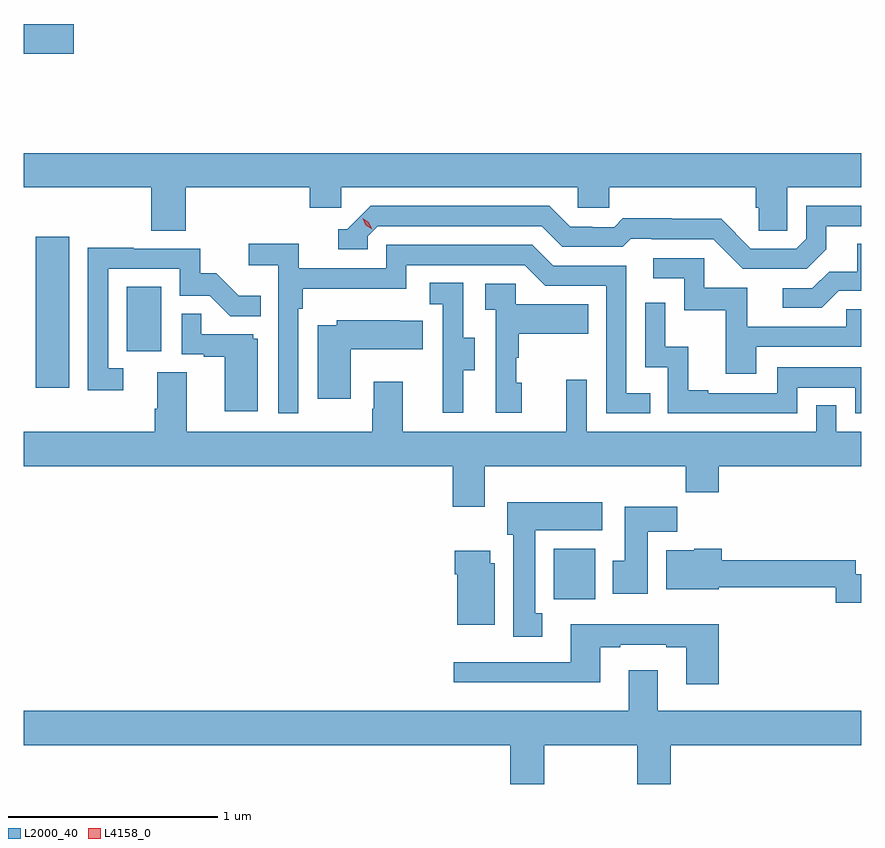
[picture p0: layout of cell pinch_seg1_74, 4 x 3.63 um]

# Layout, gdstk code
import gdstk
lib = gdstk.Library(unit=1e-6, precision=1e-09)
def R(c, l, rs):  # rectangles x0, y0, x1, y1
    for r in rs: c.add(gdstk.rectangle(r[:2], r[2:], *l))
def P(c, l, *ps):  # polygons
    for p in ps: c.add(gdstk.Polygon(p, *l))
L2000_40 = (2000, 40)
L4158_0 = (4158, 0)

pinch_seg1_74 = lib.new_cell('pinch_seg1_74')
R(pinch_seg1_74, L2000_40, [(1034.936,579.068,1035.133,579.31), (1032.461,580.08,1032.622,580.801), (1032.896,580.254,1033.06,580.561), (1032.404,581.674,1032.643,581.816)])
P(pinch_seg1_74, L2000_40, [(1033.178,581.036),(1033.769,581.036),(1033.769,580.938),(1033.92,580.938),(1033.92,581.036),(1035.051,581.036),(1035.051,580.938),(1035.201,580.938),(1035.201,581.036),(1035.899,581.036),(1035.899,580.938),(1035.913,580.938),(1035.913,580.828),(1036.05,580.828),(1036.05,581.036),(1036.404,581.036),(1036.404,581.2),(1032.404,581.2),(1032.404,581.036),(1033.013,581.036),(1033.013,580.828),(1033.178,580.828)],
  [(1036.237,580.741),(1036.237,580.851),(1036.404,580.851),(1036.404,580.947),(1036.14,580.947),(1036.14,580.791),(1036.092,580.743),(1035.876,580.743),(1035.734,580.885),(1035.498,580.885),(1035.498,580.888),(1035.265,580.888),(1035.223,580.845),(1035.12,580.845),(1035.12,580.848),(1035.013,580.848),(1034.914,580.947),(1034.061,580.947),(1033.95,580.836),(1033.907,580.836),(1033.907,580.74),(1034.046,580.74),(1034.046,580.803),(1034.094,580.851),(1034.877,580.851),(1034.976,580.752),(1035.265,580.752),(1035.304,580.791),(1035.403,580.791),(1035.403,580.788),(1035.696,580.788),(1035.837,580.647),(1036.143,580.647)],
  [(1033.716,580.457),(1033.736,580.457),(1033.736,580.553),(1034.232,580.553),(1034.232,580.665),(1034.796,580.665),(1034.895,580.566),(1035.186,580.566),(1035.186,579.957),(1035.395,579.957),(1035.395,580.053),(1035.282,580.053),(1035.282,580.662),(1034.932,580.662),(1034.833,580.761),(1034.136,580.761),(1034.136,580.65),(1033.718,580.65),(1033.718,580.766),(1033.478,580.766),(1033.478,580.664),(1033.62,580.664),(1033.62,579.957),(1033.716,579.957)],
  [(1036.297,580.542),(1036.404,580.542),(1036.404,580.766),(1036.385,580.766),(1036.385,580.634),(1036.25,580.634),(1036.17,580.554),(1036.029,580.554),(1036.029,580.461),(1036.216,580.461)],
  [(1032.88,580.173),(1032.807,580.173),(1032.807,580.647),(1033.149,580.647),(1033.149,580.518),(1033.293,580.518),(1033.391,580.42),(1033.535,580.42),(1033.535,580.519),(1033.431,580.519),(1033.324,580.626),(1033.248,580.626),(1033.248,580.743),(1032.929,580.743),(1032.929,580.748),(1032.711,580.748),(1032.711,580.068),(1032.88,580.068)],
  [(1035.901,580.275),(1036.404,580.275),(1036.404,580.455),(1036.333,580.455),(1036.333,580.371),(1035.859,580.371),(1035.859,580.557),(1035.654,580.557),(1035.654,580.698),(1035.411,580.698),(1035.411,580.602),(1035.558,580.602),(1035.558,580.449),(1035.757,580.449),(1035.757,580.146),(1035.901,580.146)],
  [(1034.503,580.162),(1034.557,580.162),(1034.557,580.317),(1034.502,580.317),(1034.502,580.58),(1034.343,580.58),(1034.343,580.477),(1034.406,580.477),(1034.406,580.173),(1034.405,580.173),(1034.405,579.96),(1034.503,579.96)],
  [(1034.782,580.104),(1034.757,580.104),(1034.757,580.223),(1034.767,580.223),(1034.767,580.337),(1035.101,580.337),(1035.101,580.477),(1034.754,580.477),(1034.754,580.575),(1034.607,580.575),(1034.607,580.451),(1034.658,580.451),(1034.658,579.96),(1034.782,579.96)],
  [(1036.098,580.08),(1036.374,580.08),(1036.374,579.957),(1036.404,579.957),(1036.404,580.176),(1036.002,580.176),(1036.002,580.053),(1035.673,580.053),(1035.673,580.066),(1035.578,580.066),(1035.578,580.274),(1035.468,580.274),(1035.468,580.486),(1035.372,580.486),(1035.372,580.176),(1035.48,580.176),(1035.48,579.957),(1036.098,579.957)],
  [(1033.522,580.314),(1033.5,580.314),(1033.5,580.335),(1033.253,580.335),(1033.253,580.433),(1033.158,580.433),(1033.158,580.239),(1033.265,580.239),(1033.265,580.227),(1033.364,580.227),(1033.364,579.966),(1033.522,579.966)],
  [(1033.966,580.262),(1034.309,580.262),(1034.309,580.399),(1034.201,580.399),(1034.201,580.402),(1033.899,580.402),(1033.899,580.378),(1033.808,580.378),(1033.808,580.026),(1033.966,580.026)],
  [(1034.453,579.51),(1034.605,579.51),(1034.605,579.704),(1035.565,579.704),(1035.565,579.58),(1035.722,579.58),(1035.722,579.704),(1036.404,579.704),(1036.404,579.868),(1036.284,579.868),(1036.284,579.995),(1036.188,579.995),(1036.188,579.868),(1035.093,579.868),(1035.093,580.117),(1034.996,580.117),(1034.996,579.868),(1034.215,579.868),(1034.215,580.108),(1034.075,580.108),(1034.075,579.98),(1034.068,579.98),(1034.068,579.868),(1033.183,579.868),(1033.183,580.154),(1033.043,580.154),(1033.043,579.98),(1033.031,579.98),(1033.031,579.868),(1032.404,579.868),(1032.404,579.704),(1034.453,579.704)],
  [(1034.881,579.002),(1034.848,579.002),(1034.848,579.398),(1035.166,579.398),(1035.166,579.532),(1034.714,579.532),(1034.714,579.378),(1034.741,579.378),(1034.741,578.889),(1034.881,578.889)],
  [(1035.385,579.392),(1035.524,579.392),(1035.524,579.511),(1035.275,579.511),(1035.275,579.252),(1035.218,579.252),(1035.218,579.096),(1035.385,579.096)],
  [(1036.404,579.188),(1036.377,579.188),(1036.377,579.256),(1035.737,579.256),(1035.737,579.31),(1035.606,579.31),(1035.606,579.304),(1035.473,579.304),(1035.473,579.116),(1035.724,579.116),(1035.724,579.127),(1036.281,579.127),(1036.281,579.052),(1036.404,579.052)],
  [(1034.653,579.24),(1034.632,579.24),(1034.632,579.301),(1034.462,579.301),(1034.462,579.188),(1034.474,579.188),(1034.474,578.948),(1034.653,578.948)],
  [(1035.722,578.95),(1035.017,578.95),(1035.017,578.769),(1034.457,578.769),(1034.457,578.672),(1035.157,578.672),(1035.157,578.841),(1035.253,578.841),(1035.253,578.853),(1035.473,578.853),(1035.473,578.841),(1035.569,578.841),(1035.569,578.664),(1035.722,578.664)],
  [(1034.889,578.372),(1035.334,578.372),(1035.334,578.187),(1035.494,578.187),(1035.494,578.372),(1036.404,578.372),(1036.404,578.536),(1035.433,578.536),(1035.433,578.731),(1035.293,578.731),(1035.293,578.536),(1032.404,578.536),(1032.404,578.372),(1034.728,578.372),(1034.728,578.187),(1034.889,578.187)])
P(pinch_seg1_74, L4158_0, [(1034.069,580.836),(1034.038,580.856),(1034.022,580.889),(1034.022,580.889),(1034.023,580.889),(1034.053,580.869),(1034.069,580.836),(1034.069,580.836)])

lib.write_gds('pinch_seg1_74.gds')
